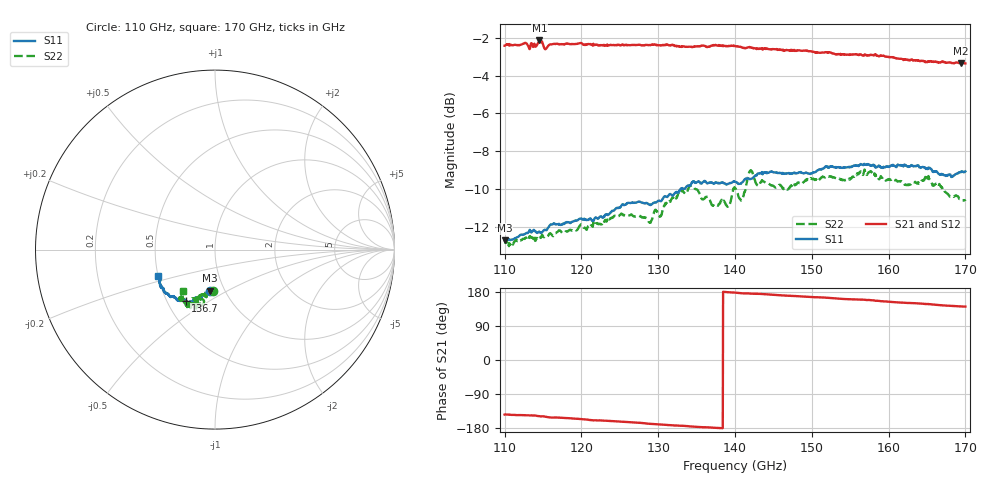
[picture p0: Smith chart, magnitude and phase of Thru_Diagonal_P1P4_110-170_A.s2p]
! Generated by Phase I extraction
# Hz S RI R 50
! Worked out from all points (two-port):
!   1471 points, 110 GHz to 170 GHz, reference 50 ohm
!   highest |S21| = -2.14 dB at 114.5 GHz (marker M1); lowest = -3.4 dB at 169.4 GHz (marker M2)
!   |S21| within 3 dB of the highest: start of sweep to end of sweep
!   lowest |S11| = -12.7 dB at 110 GHz (marker M3), VSWR 1.60, Z = 42.5 - j20.6 ohm
!   |S11| at or under -10 dB: start of sweep to 132.9 GHz; 133.3345 GHz to 133.3605 GHz (26 MHz wide, 0.0195 % of centre)
!   |S22| runs from -13.0 to -9.0 dB; largest |S21 - S12| = 0
!   S11 on the Smith chart (normalised r, x): 110 GHz: 0.85, -0.41; 136.7 GHz: 0.62, -0.40; 170 GHz: 0.50, -0.17
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1.1e11  -0.0302 -0.2292  -0.6132 -0.4435  -0.6132 -0.4435  -0.0113 -0.2324
1.139184e11  -0.0412 -0.2413  -0.6345 -0.4229  -0.6345 -0.4229  -0.00582 -0.2339
1.145306e11  -0.0419 -0.2402  -0.6652 -0.4101  -0.6652 -0.4101  -0.0167 -0.2326
1.152653e11  -0.0539 -0.2408  -0.6378 -0.3769  -0.6378 -0.3769  -0.0169 -0.2364
1.158367e11  -0.0521 -0.2472  -0.6693 -0.3629  -0.6693 -0.3629  -0.0216 -0.2399
1.2e11  -0.0661 -0.2557  -0.7024 -0.313  -0.7024 -0.313  -0.042 -0.2513
1.3e11  -0.1066 -0.2742  -0.7465 -0.1343  -0.7465 -0.1343  -0.074 -0.2603
1.311837e11  -0.1116 -0.2797  -0.7547 -0.1121  -0.7547 -0.1121  -0.0974 -0.2777
1.342449e11  -0.1409 -0.2924  -0.7489 -0.0614  -0.7489 -0.0614  -0.081 -0.3126
1.367347e11  -0.1643 -0.2852  -0.753 -0.0258  -0.753 -0.0258  -0.061 -0.289
1.39102e11  -0.1685 -0.2796  -0.7548 0.0152  -0.7548 0.0152  -0.0944 -0.2685
1.4e11  -0.1747 -0.2808  -0.7547 0.0281  -0.7547 0.0281  -0.112 -0.2983
1.408571e11  -0.1742 -0.2783  -0.7484 0.0518  -0.7484 0.0518  -0.1206 -0.2708
1.420408e11  -0.1847 -0.2806  -0.7468 0.0629  -0.7468 0.0629  -0.1273 -0.3308
1.429388e11  -0.1969 -0.2858  -0.7411 0.0714  -0.7411 0.0714  -0.1032 -0.3062
1.465714e11  -0.2186 -0.2699  -0.7252 0.1286  -0.7252 0.1286  -0.1088 -0.2976
1.5e11  -0.2311 -0.2604  -0.7089 0.1763  -0.7089 0.1763  -0.1361 -0.3074
1.575918e11  -0.2839 -0.2295  -0.6634 0.2667  -0.6634 0.2667  -0.1532 -0.3165
1.6e11  -0.2928 -0.2124  -0.6352 0.3102  -0.6352 0.3102  -0.1705 -0.2888
1.650204e11  -0.3077 -0.1824  -0.5783 0.3662  -0.5783 0.3662  -0.1921 -0.2783
1.693878e11  -0.3186 -0.1455  -0.5304 0.4243  -0.5304 0.4243  -0.1761 -0.2374
1.7e11  -0.3199 -0.1468  -0.5271 0.4287  -0.5271 0.4287  -0.1787 -0.2331
